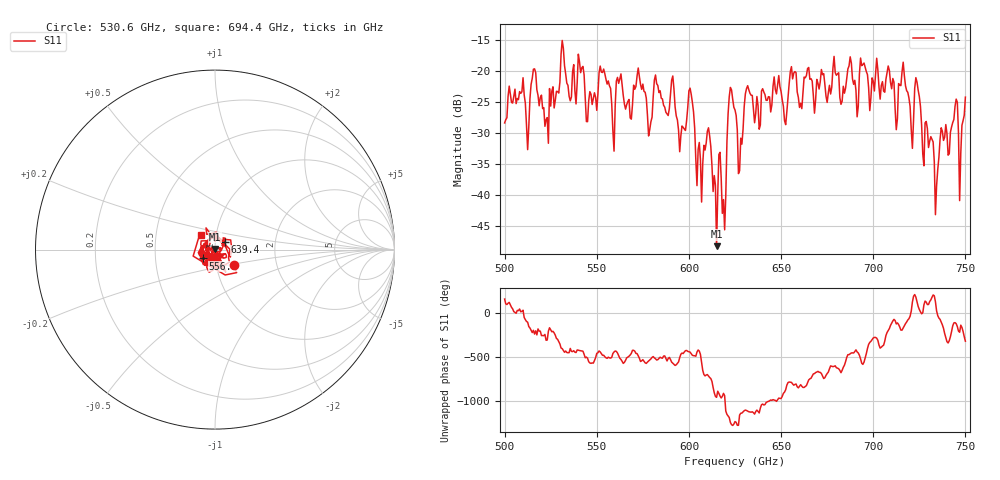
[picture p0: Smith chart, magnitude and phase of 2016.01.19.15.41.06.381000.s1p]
!Created with skrf (http://scikit-rf.org).
# GHz S RI R 50.0
!freq ReS11 ImS11
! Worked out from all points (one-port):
!   401 points, 500 GHz to 750 GHz, reference 50 ohm
!   lowest |S11| = -48.3 dB at 615 GHz (marker M1), VSWR 1.01, Z = 49.8 + j0.328 ohm
!   |S11| at or under -10 dB: start of sweep to end of sweep
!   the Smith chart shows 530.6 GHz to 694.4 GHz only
!   S11 on the Smith chart (normalised r, x): 530.6 GHz: 1.21, -0.22; 556.2 GHz: 0.87, -0.09; 639.4 GHz: 1.11, +0.09; 694.4 GHz: 0.84, +0.14
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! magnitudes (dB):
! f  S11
! 500 GHz  -28.4
! 512.5 GHz  -32.7
! 515.6 GHz  -19.7
! 522.5 GHz  -27.9
! 530.6 GHz  -17.3
! 531.2 GHz  -15.1
! 545 GHz  -28.2
! 556.2 GHz  -21.6
! 558.8 GHz  -29.7
! 562.5 GHz  -21.3
! 593.8 GHz  -27.9
! 601.2 GHz  -23.8
! 605.6 GHz  -31.6
! 610.6 GHz  -29.2
! 615 GHz  -48.3
! 618.8 GHz  -40.8
! 621.9 GHz  -24.2
! 625 GHz  -26.3
! 628.1 GHz  -30.9
! 631.9 GHz  -22.4
! 639.4 GHz  -23.3
! 656.2 GHz  -21.3
! 687.5 GHz  -17.7
! 694.4 GHz  -19.0
! 718.8 GHz  -23.5
! 723.8 GHz  -21.8
! 734.4 GHz  -38.6
! 750 GHz  -24.2
